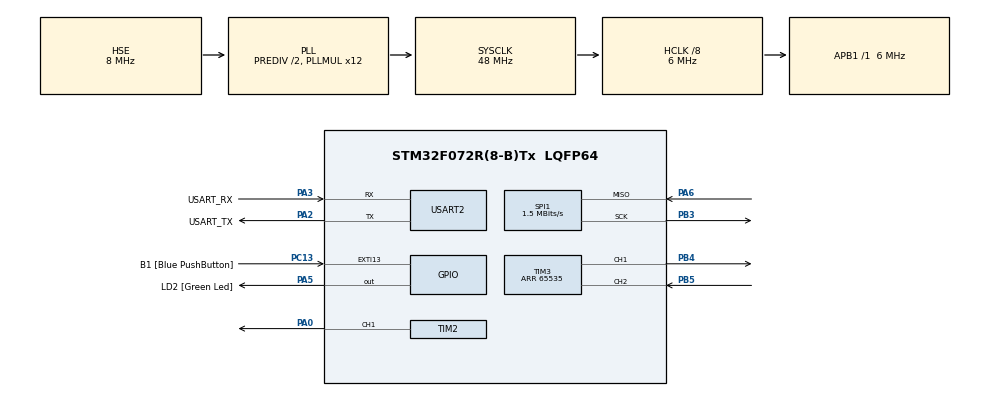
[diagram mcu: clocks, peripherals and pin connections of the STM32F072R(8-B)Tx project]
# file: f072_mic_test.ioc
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Mcu.Family=STM32F0
PA2.GPIO_PuPd=GPIO_NOPULL
PA6.Mode=RX_Only_Simplex_Unidirect_Master
SPI1.VirtualType=VM_MASTER
PA14.GPIO_Label=TCK
PA3.GPIO_PuPd=GPIO_NOPULL
PA2.GPIO_Speed=GPIO_SPEED_FREQ_LOW
TIM3.Slave_TriggerPolarity=TIM_TRIGGERPOLARITY_FALLING
PC13.GPIO_Label=B1 [Blue PushButton]
PA3.GPIO_Speed=GPIO_SPEED_FREQ_LOW
RCC.SYSCLKSource=RCC_SYSCLKSOURCE_PLLCLK
ProjectManager.StackSize=0x400
Dma.SPI1_RX.0.Direction=DMA_PERIPH_TO_MEMORY
SPI1.Direction=SPI_DIRECTION_2LINES_RXONLY
RCC.HCLKFreq_Value=6000000
TIM3.Period=65535
SPI1.CalculateBaudRate=1.5 MBits/s
VP_TIM3_VS_ControllerModeClock.Mode=Clock Mode
RCC.AHBFreq_Value=6000000
TIM3.Channel-PWM\ Generation1\ CH1=TIM_CHANNEL_1
RCC.PREFETCH_ENABLE-AdvancedSettings=1
PB3.Mode=RX_Only_Simplex_Unidirect_Master
USART2.VirtualMode-Asynchronous=VM_ASYNC
RCC.PLLMUL=RCC_PLL_MUL12
Dma.SPI1_RX.0.PeriphInc=DMA_PINC_DISABLE
PC14-OSC32_IN.Mode=LSE-External-Oscillator
PA14.Mode=Serial_Wire
PA5.GPIO_PuPd=GPIO_NOPULL
SPI1.DataSize=SPI_DATASIZE_8BIT
TIM2.Channel-PWM\ Generation1\ CH1=TIM_CHANNEL_1
SH.S_TIM3_CH1.0=TIM3_CH1,PWM Generation1 CH1
PA0.Signal=S_TIM2_CH1_ETR
RCC.FLatency-AdvancedSettings=FLASH_LATENCY_1
Mcu.Package=LQFP64
PA6.Signal=SPI1_MISO
USART2.VirtualMode=VM_ASYNC
PA2.GPIO_Label=USART_TX
RCC.APB1TimFreq_Value=6000000
Dma.Request0=SPI1_RX
SPI1.BaudRatePrescaler=SPI_BAUDRATEPRESCALER_4
PF1-OSC_OUT.Signal=RCC_OSC_OUT
PB4.Signal=S_TIM3_CH1
PA3.Signal=USART2_RX
PA2.GPIO_Mode=GPIO_MODE_AF_PP
RCC.PLLSourceVirtual=RCC_PLLSOURCE_HSE
PC15-OSC32_OUT.Mode=LSE-External-Oscillator
PC13.Signal=GPXTI13
Dma.SPI1_RX.0.Mode=DMA_NORMAL
PC14-OSC32_IN.Signal=RCC_OSC32_IN
PA13.Signal=SYS_SWDIO
PA3.Mode=Asynchronous
ProjectManager.TargetToolchain=SW4STM32
PA3.GPIO_Mode=GPIO_MODE_AF_PP
RCC.PLLDivider=RCC_PREDIV_DIV2
PB4.GPIO_PuPd=GPIO_PULLUP
PC15-OSC32_OUT.Signal=RCC_OSC32_OUT
PF0-OSC_IN.Mode=HSE-External-Clock-Source
PA5.Signal=GPIO_Output
SH.S_TIM3_CH2.0=TIM3_CH2,TriggerSource_TI2FP2
board=NUCLEO-F072RB
VP_TIM2_VS_ClockSourceINT.Mode=Internal
SPI1.Mode=SPI_MODE_MASTER
Dma.SPI1_RX.0.Instance=DMA1_Channel2
Dma.SPI1_RX.0.PeriphDataAlignment=DMA_PDATAALIGN_BYTE
Dma.SPI1_RX.0.MemDataAlignment=DMA_MDATAALIGN_BYTE
RCC.AHBCLKDivider=RCC_SYSCLK_DIV8
PA13.Mode=Serial_Wire
Mcu.Name=STM32F072R(8-B)Tx
Dma.SPI1_RX.0.MemInc=DMA_MINC_ENABLE
PA13.GPIO_Label=TMS
PA2.Signal=USART2_TX
PB3.Signal=SPI1_SCK
RCC.SYSCLKFreq_VALUE=48000000
PB5.Signal=S_TIM3_CH2
PA5.GPIO_Label=LD2 [Green Led]
PC13.GPIO_ModeDefaultEXTI=GPIO_MODE_IT_FALLING
SH.S_TIM2_CH1_ETR.0=TIM2_CH1,PWM Generation1 CH1
PA14.Signal=SYS_SWCLK
ProjectManager.HeapSize=0x200
Dma.SPI1_RX.0.Priority=DMA_PRIORITY_LOW
PA5.GPIO_Speed=GPIO_SPEED_FREQ_LOW
NVIC.DMA1_Channel2_3_IRQn=true\:0\:0\:false\:false\:true\:false\:true
PA2.Mode=Asynchronous
PF0-OSC_IN.Signal=RCC_OSC_IN
RCC.APB1Freq_Value=6000000
PA5.GPIO_Mode=GPIO_MODE_OUTPUT_PP
PA3.GPIO_Label=USART_RX

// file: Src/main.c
/* USER CODE BEGIN Header */
/**
  ******************************************************************************
  * @file           : main.c
  * @brief          : Main program body
  ******************************************************************************
  * @attention
  *
  * <h2><center>&copy; Copyright (c) 2020 STMicroelectronics.
  * All rights reserved.</center></h2>
  *
  * This software component is licensed by ST under BSD 3-Clause license,
  * the "License"; You may not use this file except in compliance with the
  * License. You may obtain a copy of the License at:
  *                        opensource.org/licenses/BSD-3-Clause
  *
  ******************************************************************************
  */
/* USER CODE END Header */

#include "main.h"
#include "dma.h"
#include "spi.h"
#include "tim.h"
#include "usart.h"
#include "gpio.h"

/* USER CODE BEGIN PV */
const int16_t MIC_FILT[2][MIC_FILT_SIZE] = {
		{4088,-2779,-186,2679,-3966,1923,785,-1280,3632,-1176,-1848,-854,-2771,1276,3103,2588,1338,-2205,-3957,-2928,195,3238,3930,1791,-1546,-3674,-3241,-854,1590,2475,1618,158,-534,73,1482,2791,3485,3669,3730,3871,3996,3951,3739,3423,3017,2534,1987,1394,770,135,-492,-1095,-1658,-2163,-2599,-2954,-3220,-3393,-3470,-3452,-3343,-3150,-2881,-2548,-2164,-1741,-1295,-840,-390,42,444,805,1118,1376,1575,1712,1789,1808,1773,1690,1566,1409,1227,1030,826,622,427,246,84,-54,-167,-254,-315,-350,-364,-358,-336,-303,-261,-216,-171,-128,-90,-59,-34,-17,-7,-1,0,0},
		{0,2937,-3848,2621,195,-3188,2420,-1940,371,3550,-564,623,-1789,-3719,-570,1162,3363,3357,360,-2752,-4084,-2495,832,3425,3412,905,-2217,-3855,-3252,-1374,72,31,-1238,-2622,-3170,-2746,-1876,-1118,-614,-167,402,1050,1667,2238,2747,3182,3528,3779,3927,3969,3905,3740,3480,3134,2714,2234,1709,1155,591,31,-506,-1009,-1462,-1855,-2179,-2427,-2596,-2686,-2697,-2634,-2503,-2313,-2073,-1794,-1487,-1164,-837,-516,-211,69,318,530,702,832,919,966,975,951,898,823,730,627,520,412,311,218,137,70,17,-19,-43,-55,-58,-52,-42,-30,-18,-8,-2,0}
};
volatile uint32_t mic_buffer[MIC_BUFFER_SIZE] = {0};
extern volatile uint8_t mic_fresh;
extern DMA_HandleTypeDef hdma_spi1_rx;
/* USER CODE END PV */

void SystemClock_Config(void);

int main(void)
{

  /* MCU Configuration--------------------------------------------------------*/

  /* Reset of all peripherals, Initializes the Flash interface and the Systick. */
  HAL_Init();

  /* Configure the system clock */
  SystemClock_Config();

  /* Initialize all configured peripherals */
  MX_GPIO_Init();
  MX_DMA_Init();
  MX_SPI1_Init();
  MX_TIM3_Init();
  MX_USART2_UART_Init();
  MX_TIM2_Init();
  /* USER CODE BEGIN 2 */
  htim3.Instance->CR1 |= TIM_CR1_CEN;
  htim3.Instance->CCER |= TIM_CCER_CC1E;
  htim3.Instance->BDTR |= TIM_BDTR_MOE;
  __HAL_TIM_SET_COMPARE(&htim3, TIM_CHANNEL_1, 32);
  __HAL_TIM_SET_COUNTER(&htim3, 24);
  htim3.Instance->EGR |= TIM_EGR_UG;
  HAL_SPI_Receive_DMA(&hspi1, mic_buffer, MIC_BUFFER_SIZE << 2);
  /* USER CODE END 2 */

  /* Infinite loop */
  while (1)
  {

    /* USER CODE BEGIN 3 */
//	  if(hspi1.State == HAL_SPI_STATE_READY)
//		  HAL_SPI_Receive_DMA(&hspi1, mic_buffer, MIC_BUFFER_SIZE << 2);
	  if(mic_fresh) {
		  uint8_t c0 = (__HAL_DMA_GET_COUNTER(&hdma_spi1_rx) >> 2);
		  uint32_t E = 0;
		  for(
			  uint8_t i = ((c0 - 1) | 1) & MIC_BUFFER_MSK
			        , j = MIC_FILT_SIZE;
			  i != c0
				  && i > c0 != i < MIC_BUFFER_SIZE - (__HAL_DMA_GET_COUNTER(&hdma_spi1_rx) >> 2)
			  	  && j > 0;
			  i = (i - 2) & MIC_BUFFER_MSK
			, j--
		  ) {
			  E += ((mic_buffer[i] << 1) >> 12) * MIC_FILT[0][j];
		  }
	  }
  }
  /* USER CODE END 3 */
}

void SystemClock_Config(void)
{
  RCC_OscInitTypeDef RCC_OscInitStruct = {0};
  RCC_ClkInitTypeDef RCC_ClkInitStruct = {0};
  RCC_PeriphCLKInitTypeDef PeriphClkInit = {0};

  /** Initializes the CPU, AHB and APB busses clocks
  */
  RCC_OscInitStruct.OscillatorType = RCC_OSCILLATORTYPE_HSE;
  RCC_OscInitStruct.HSEState = RCC_HSE_BYPASS;
  RCC_OscInitStruct.PLL.PLLState = RCC_PLL_ON;
  RCC_OscInitStruct.PLL.PLLSource = RCC_PLLSOURCE_HSE;
  RCC_OscInitStruct.PLL.PLLMUL = RCC_PLL_MUL12;
  RCC_OscInitStruct.PLL.PREDIV = RCC_PREDIV_DIV2;
  if (HAL_RCC_OscConfig(&RCC_OscInitStruct) != HAL_OK)
  {
    Error_Handler();
  }
  /** Initializes the CPU, AHB and APB busses clocks
  */
  RCC_ClkInitStruct.ClockType = RCC_CLOCKTYPE_HCLK|RCC_CLOCKTYPE_SYSCLK
                              |RCC_CLOCKTYPE_PCLK1;
  RCC_ClkInitStruct.SYSCLKSource = RCC_SYSCLKSOURCE_PLLCLK;
  RCC_ClkInitStruct.AHBCLKDivider = RCC_SYSCLK_DIV8;
  RCC_ClkInitStruct.APB1CLKDivider = RCC_HCLK_DIV1;

  if (HAL_RCC_ClockConfig(&RCC_ClkInitStruct, FLASH_LATENCY_1) != HAL_OK)
  {
    Error_Handler();
  }
  PeriphClkInit.PeriphClockSelection = RCC_PERIPHCLK_USART2;
  PeriphClkInit.Usart2ClockSelection = RCC_USART2CLKSOURCE_PCLK1;
  if (HAL_RCCEx_PeriphCLKConfig(&PeriphClkInit) != HAL_OK)
  {
    Error_Handler();
  }
}

void Error_Handler(void)
{
}

/************************ (C) COPYRIGHT STMicroelectronics *****END OF FILE****/
